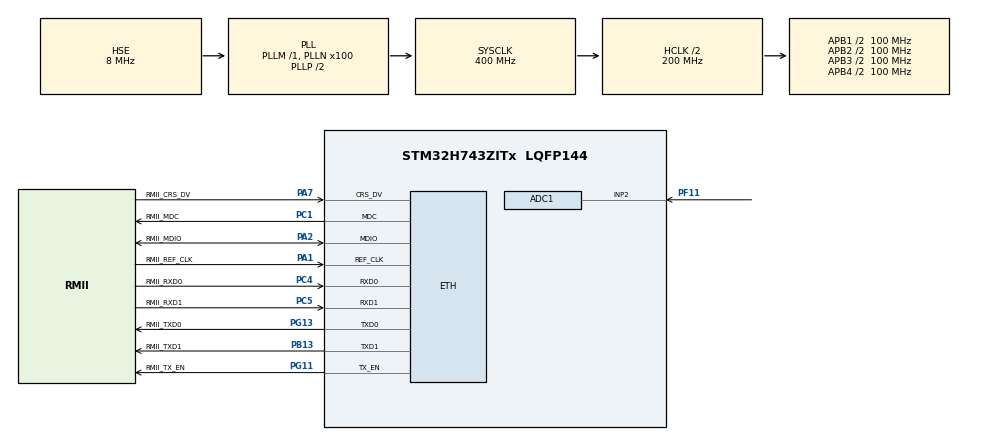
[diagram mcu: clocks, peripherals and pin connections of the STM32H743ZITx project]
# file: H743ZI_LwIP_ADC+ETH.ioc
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ADC1.Channel-0\#ChannelRegularConversion=ADC_CHANNEL_2
ADC1.ContinuousConvMode=ENABLE
ADC1.ConversionDataManagement=ADC_CONVERSIONDATA_DMA_CIRCULAR
ADC1.NbrOfConversionFlag=1
ADC1.OffsetNumber-0\#ChannelRegularConversion=ADC_OFFSET_NONE
ADC1.Overrun=ADC_OVR_DATA_OVERWRITTEN
ADC1.Rank-0\#ChannelRegularConversion=1
ADC1.SamplingTime-0\#ChannelRegularConversion=ADC_SAMPLETIME_1CYCLE_5
ADC1.master=1
CORTEX_M7.AccessPermission-Cortex_Memory_Protection_Unit_Region0_Settings=MPU_REGION_FULL_ACCESS
CORTEX_M7.BaseAddress-Cortex_Memory_Protection_Unit_Region0_Settings=0x30040000
CORTEX_M7.BaseAddress-Cortex_Memory_Protection_Unit_Region1_Settings=0x30044000
CORTEX_M7.CPU_DCache=Enabled
CORTEX_M7.CPU_ICache=Enabled
CORTEX_M7.Enable-Cortex_Memory_Protection_Unit_Region0_Settings=MPU_REGION_ENABLE
CORTEX_M7.Enable-Cortex_Memory_Protection_Unit_Region1_Settings=MPU_REGION_ENABLE
CORTEX_M7.IsBufferable-Cortex_Memory_Protection_Unit_Region0_Settings=MPU_ACCESS_BUFFERABLE
CORTEX_M7.IsCacheable-Cortex_Memory_Protection_Unit_Region1_Settings=MPU_ACCESS_CACHEABLE
CORTEX_M7.MPU_Control=MPU_PRIVILEGED_DEFAULT
CORTEX_M7.Size-Cortex_Memory_Protection_Unit_Region0_Settings=MPU_REGION_SIZE_256B
CORTEX_M7.Size-Cortex_Memory_Protection_Unit_Region1_Settings=MPU_REGION_SIZE_16KB
Dma.ADC1.0.Direction=DMA_PERIPH_TO_MEMORY
Dma.ADC1.0.EventEnable=DISABLE
Dma.ADC1.0.FIFOMode=DMA_FIFOMODE_DISABLE
Dma.ADC1.0.Instance=DMA1_Stream0
Dma.ADC1.0.MemDataAlignment=DMA_MDATAALIGN_HALFWORD
Dma.ADC1.0.MemInc=DMA_MINC_ENABLE
Dma.ADC1.0.Mode=DMA_CIRCULAR
Dma.ADC1.0.PeriphDataAlignment=DMA_PDATAALIGN_HALFWORD
Dma.ADC1.0.PeriphInc=DMA_PINC_DISABLE
Dma.ADC1.0.Polarity=HAL_DMAMUX_REQ_GEN_RISING
Dma.ADC1.0.Priority=DMA_PRIORITY_VERY_HIGH
Dma.ADC1.0.RequestNumber=1
Dma.ADC1.0.SignalID=NONE
Dma.ADC1.0.SyncEnable=DISABLE
Dma.ADC1.0.SyncPolarity=HAL_DMAMUX_SYNC_NO_EVENT
Dma.ADC1.0.SyncRequestNumber=1
Dma.ADC1.0.SyncSignalID=NONE
Dma.Request0=ADC1
ETH.MediaInterface=HAL_ETH_RMII_MODE
LWIP.BSP.number=1
LWIP.GATEWAY_ADDRESS=192.168.000.001
LWIP.IP_ADDRESS=192.168.000.010
LWIP.LWIP_DHCP=0
LWIP.NETMASK_ADDRESS=255.255.255.000
LWIP.Version=v2.0.3_Cube
LWIP0.BSP.STBoard=false
LWIP0.BSP.api=BSP_COMPONENT_DRIVER
LWIP0.BSP.component=LAN8742
LWIP0.BSP.i2caddr=0
LWIP0.BSP.instance=LAN8742
LWIP0.BSP.name=Driver_PHY
LWIP0.BSP.solution=LAN8742
Mcu.Family=STM32H7
Mcu.Name=STM32H743ZITx
Mcu.Package=LQFP144
NVIC.DMA1_Stream0_IRQn=true\:0\:0\:false\:false\:true\:false\:true
NVIC.PriorityGroup=NVIC_PRIORITYGROUP_4
PA1.GPIO_Label=RMII_REF_CLK
PA1.GPIO_Speed=GPIO_SPEED_FREQ_HIGH
PA1.Mode=RMII
PA1.Signal=ETH_REF_CLK
PA13\ (JTMS/SWDIO).GPIO_Label=TMS
PA13\ (JTMS/SWDIO).Mode=Serial_Wire
PA13\ (JTMS/SWDIO).Signal=SYS_JTMS-SWDIO
PA14\ (JTCK/SWCLK).GPIO_Label=TCK
PA14\ (JTCK/SWCLK).Mode=Serial_Wire
PA14\ (JTCK/SWCLK).Signal=SYS_JTCK-SWCLK
PA2.GPIO_Label=RMII_MDIO
PA2.GPIO_Speed=GPIO_SPEED_FREQ_HIGH
PA2.Mode=RMII
PA2.Signal=ETH_MDIO
PA7.GPIO_Label=RMII_CRS_DV
PA7.GPIO_Speed=GPIO_SPEED_FREQ_HIGH
PA7.Mode=RMII
PA7.Signal=ETH_CRS_DV
PB13.GPIO_Label=RMII_TXD1
PB13.GPIO_Speed=GPIO_SPEED_FREQ_HIGH
PB13.Mode=RMII
PB13.Signal=ETH_TXD1
PC1.GPIO_Label=RMII_MDC
PC1.Mode=RMII
PC1.Signal=ETH_MDC
PC4.GPIO_Label=RMII_RXD0
PC4.GPIO_Speed=GPIO_SPEED_FREQ_HIGH
PC4.Mode=RMII
PC4.Signal=ETH_RXD0
PC5.GPIO_Label=RMII_RXD1
PC5.GPIO_Speed=GPIO_SPEED_FREQ_HIGH
PC5.Mode=RMII
PC5.Signal=ETH_RXD1
PF11.Mode=IN2-Single-Ended
PF11.Signal=ADC1_INP2
PG11.GPIO_Label=RMII_TX_EN
PG11.GPIO_Speed=GPIO_SPEED_FREQ_HIGH
PG11.Mode=RMII
PG11.Signal=ETH_TX_EN
PG13.GPIO_Label=RMII_TXD0
PG13.GPIO_Speed=GPIO_SPEED_FREQ_HIGH
PG13.Mode=RMII
PG13.Signal=ETH_TXD0
PH0-OSC_IN\ (PH0).GPIO_Label=MCO
PH0-OSC_IN\ (PH0).Mode=HSE-External-Oscillator
PH0-OSC_IN\ (PH0).Signal=RCC_OSC_IN
PH1-OSC_OUT\ (PH1).Mode=HSE-External-Oscillator
PH1-OSC_OUT\ (PH1).Signal=RCC_OSC_OUT
ProjectManager.HeapSize=0x2000
ProjectManager.StackSize=0x4000
ProjectManager.TargetToolchain=EWARM V8
RCC.48MHZClocksFreq_Value=24000000
RCC.ADCFreq_Value=76000000
RCC.AHBFreq_Value=216000000
RCC.APB1CLKDivider=RCC_HCLK_DIV4
RCC.APB1Freq_Value=100000000
RCC.APB1TimFreq_Value=108000000
RCC.APB2CLKDivider=RCC_HCLK_DIV2
RCC.APB2Freq_Value=100000000
RCC.APB2TimFreq_Value=216000000
RCC.APB3Freq_Value=100000000
RCC.APB4Freq_Value=100000000
RCC.CortexFreq_Value=400000000
RCC.D1PPRE=RCC_APB3_DIV2
RCC.D2PPRE1=RCC_APB1_DIV2
RCC.D2PPRE2=RCC_APB2_DIV2
RCC.D3PPRE=RCC_APB4_DIV2
RCC.DIVM1=1
RCC.DIVM2=1
RCC.DIVN1=100
RCC.DIVN2=19
RCC.DIVQ1=4
RCC.HCLKFreq_Value=200000000
RCC.HPRE=RCC_HCLK_DIV2
RCC.HSE_VALUE=8000000
RCC.HSI_VALUE=64000000
RCC.PLLM=25
RCC.PLLMUL=RCC_PLL_MUL9
RCC.PLLN=432
RCC.PLLQ=9
RCC.PLLSourceVirtual=RCC_PLLSOURCE_HSE
RCC.PRESCALERUSB=RCC_USBCLKSOURCE_PLL_DIV1_5
RCC.PWR_Regulator_Voltage_Scale=PWR_REGULATOR_VOLTAGE_SCALE1
RCC.SYSCLKFreq_VALUE=400000000
RCC.SYSCLKSource=RCC_SYSCLKSOURCE_PLLCLK
RCC.SYSCLKSourceVirtual=RCC_SYSCLKSOURCE_PLLCLK
RCC.USBFreq_Value=200000000
RCC.VCOOutputFreq_Value=432000000
VP_LWIP_VS_Enabled.Mode=Enabled
board=NUCLEO-H743ZI

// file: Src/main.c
/* USER CODE BEGIN Header */
/**
  ******************************************************************************
  * @file           : main.c
  * @brief          : Main program body
  ******************************************************************************
  * This notice applies to any and all portions of this file
  * that are not between comment pairs USER CODE BEGIN and
  * USER CODE END. Other portions of this file, whether
  * inserted by the user or by software development tools
  * are owned by their respective copyright owners.
  *
  * Copyright (c) 2019 STMicroelectronics International N.V.
  * All rights reserved.
  *
  * Redistribution and use in source and binary forms, with or without
  * modification, are permitted, provided that the following conditions are met:
  *
  * 1. Redistribution of source code must retain the above copyright notice,
  *    this list of conditions and the following disclaimer.
  * 2. Redistributions in binary form must reproduce the above copyright notice,
  *    this list of conditions and the following disclaimer in the documentation
  *    and/or other materials provided with the distribution.
  * 3. Neither the name of STMicroelectronics nor the names of other
  *    contributors to this software may be used to endorse or promote products
  *    derived from this software without specific written permission.
  * 4. This software, including modifications and/or derivative works of this
  *    software, must execute solely and exclusively on microcontroller or
  *    microprocessor devices manufactured by or for STMicroelectronics.
  * 5. Redistribution and use of this software other than as permitted under
  *    this license is void and will automatically terminate your rights under
  *    this license.
  *
  * THIS SOFTWARE IS PROVIDED BY STMICROELECTRONICS AND CONTRIBUTORS "AS IS"
  * AND ANY EXPRESS, IMPLIED OR STATUTORY WARRANTIES, INCLUDING, BUT NOT
  * LIMITED TO, THE IMPLIED WARRANTIES OF MERCHANTABILITY, FITNESS FOR A
  * PARTICULAR PURPOSE AND NON-INFRINGEMENT OF THIRD PARTY INTELLECTUAL PROPERTY
  * RIGHTS ARE DISCLAIMED TO THE FULLEST EXTENT PERMITTED BY LAW. IN NO EVENT
  * SHALL STMICROELECTRONICS OR CONTRIBUTORS BE LIABLE FOR ANY DIRECT, INDIRECT,
  * INCIDENTAL, SPECIAL, EXEMPLARY, OR CONSEQUENTIAL DAMAGES (INCLUDING, BUT NOT
  * LIMITED TO, PROCUREMENT OF SUBSTITUTE GOODS OR SERVICES; LOSS OF USE, DATA,
  * OR PROFITS; OR BUSINESS INTERRUPTION) HOWEVER CAUSED AND ON ANY THEORY OF
  * LIABILITY, WHETHER IN CONTRACT, STRICT LIABILITY, OR TORT (INCLUDING
  * NEGLIGENCE OR OTHERWISE) ARISING IN ANY WAY OUT OF THE USE OF THIS SOFTWARE,
  * EVEN IF ADVISED OF THE POSSIBILITY OF SUCH DAMAGE.
  *
  ******************************************************************************
  */
/* USER CODE END Header */

#include "main.h"
#include "lwip.h"

/* USER CODE BEGIN Includes */
#include "lwip/udp.h"
/* USER CODE END Includes */

/* USER CODE BEGIN PD */
#define ADC_CONVERTED_DATA_BUFFER_SIZE   ((uint32_t)  32)   /* Size of array aADCxConvertedData[] */
/* USER CODE END PD */

ADC_HandleTypeDef hadc1;
DMA_HandleTypeDef hdma_adc1;

/* USER CODE BEGIN PV */
struct udp_pcb * pcb; ///< UDP PCB for communication with PC
err_t err; ///< Error status for UDP transfer and receive
struct pbuf * p1; ///< Data buffer for transferring data from frontend 1 through UDP
extern ip4_addr_t ipaddr;
ip4_addr_t client;
ALIGN_32BYTES (static uint16_t aADCxConvertedData[ADC_CONVERTED_DATA_BUFFER_SIZE]);
static uint16_t samp_freq;
/* USER CODE END PV */

void SystemClock_Config(void);
static void MPU_Config(void);
static void MX_GPIO_Init(void);
static void MX_DMA_Init(void);
static void MX_ADC1_Init(void);

int main(void)
{

  /* MPU Configuration--------------------------------------------------------*/
  MPU_Config();

  /* Enable I-Cache---------------------------------------------------------*/
  SCB_EnableICache();

  /* Enable D-Cache---------------------------------------------------------*/
  SCB_EnableDCache();

  /* MCU Configuration--------------------------------------------------------*/

  /* Reset of all peripherals, Initializes the Flash interface and the Systick. */
  HAL_Init();

  /* USER CODE BEGIN Init */
  IP4_ADDR(&client, 192, 168, 0, 11);
  /* USER CODE END Init */

  /* Configure the system clock */
  SystemClock_Config();

  /* Initialize all configured peripherals */
  MX_GPIO_Init();
  MX_DMA_Init();
  MX_LWIP_Init();
  MX_ADC1_Init();
  /* USER CODE BEGIN 2 */
  HAL_Delay(1000);

  samp_freq = 0;//RCC_OscInitStruct.PLL.PLLN;

  HAL_ADC_Start_DMA(&hadc1, (uint32_t *)aADCxConvertedData,
                    ADC_CONVERTED_DATA_BUFFER_SIZE);

  // setup UDP connection
  pcb = udp_new();
  pcb->local_ip = ipaddr;
  pcb->remote_ip = client;
  pcb->local_port = 55726;
  err = udp_bind(pcb, IP_ADDR_ANY, 55726);

  // write sample frequency
  p1 = pbuf_alloc(PBUF_TRANSPORT, sizeof(uint16_t), PBUF_POOL);
  err = pbuf_take(p1, &samp_freq, sizeof(uint16_t));
  err = udp_sendto(pcb, p1, &client, 55726);
  pbuf_free(p1);

  /* USER CODE END 2 */

  /* Infinite loop */
  /* USER CODE BEGIN WHILE */
  while (1)
  {
    MX_LWIP_Process();
    HAL_Delay(1);
    /* USER CODE END WHILE */

    /* USER CODE BEGIN 3 */

    // write pbuf and send udp package
    p1 = pbuf_alloc(PBUF_TRANSPORT, sizeof(uint16_t), PBUF_POOL);
    err = pbuf_take(p1, &aADCxConvertedData, sizeof(uint16_t));
    err = udp_sendto(pcb, p1, &client, 55726);
    pbuf_free(p1);
  }
  /* USER CODE END 3 */
}

void SystemClock_Config(void)
{
  RCC_OscInitTypeDef RCC_OscInitStruct = {0};
  RCC_ClkInitTypeDef RCC_ClkInitStruct = {0};
  RCC_PeriphCLKInitTypeDef PeriphClkInitStruct = {0};

  /** Supply configuration update enable
  */
  MODIFY_REG(PWR->CR3, PWR_CR3_SCUEN, 0);
  /** Configure the main internal regulator output voltage
  */
  __HAL_PWR_VOLTAGESCALING_CONFIG(PWR_REGULATOR_VOLTAGE_SCALE1);

  while ((PWR->D3CR & (PWR_D3CR_VOSRDY)) != PWR_D3CR_VOSRDY)
  {

  }
  /** Macro to configure the PLL clock source
  */
  __HAL_RCC_PLL_PLLSOURCE_CONFIG(RCC_PLLSOURCE_HSE);
  /** Initializes the CPU, AHB and APB busses clocks
  */
  RCC_OscInitStruct.OscillatorType = RCC_OSCILLATORTYPE_HSE;
  RCC_OscInitStruct.HSEState = RCC_HSE_ON;
  RCC_OscInitStruct.PLL.PLLState = RCC_PLL_ON;
  RCC_OscInitStruct.PLL.PLLSource = RCC_PLLSOURCE_HSE;
  RCC_OscInitStruct.PLL.PLLM = 1;
  RCC_OscInitStruct.PLL.PLLN = 100;
  RCC_OscInitStruct.PLL.PLLP = 2;
  RCC_OscInitStruct.PLL.PLLQ = 4;
  RCC_OscInitStruct.PLL.PLLR = 2;
  RCC_OscInitStruct.PLL.PLLRGE = RCC_PLL1VCIRANGE_3;
  RCC_OscInitStruct.PLL.PLLVCOSEL = RCC_PLL1VCOWIDE;
  RCC_OscInitStruct.PLL.PLLFRACN = 0;
  if (HAL_RCC_OscConfig(&RCC_OscInitStruct) != HAL_OK)
  {
    Error_Handler();
  }
  /** Initializes the CPU, AHB and APB busses clocks
  */
  RCC_ClkInitStruct.ClockType = RCC_CLOCKTYPE_HCLK|RCC_CLOCKTYPE_SYSCLK
                              |RCC_CLOCKTYPE_PCLK1|RCC_CLOCKTYPE_PCLK2
                              |RCC_CLOCKTYPE_D3PCLK1|RCC_CLOCKTYPE_D1PCLK1;
  RCC_ClkInitStruct.SYSCLKSource = RCC_SYSCLKSOURCE_PLLCLK;
  RCC_ClkInitStruct.SYSCLKDivider = RCC_SYSCLK_DIV1;
  RCC_ClkInitStruct.AHBCLKDivider = RCC_HCLK_DIV2;
  RCC_ClkInitStruct.APB3CLKDivider = RCC_APB3_DIV2;
  RCC_ClkInitStruct.APB1CLKDivider = RCC_APB1_DIV2;
  RCC_ClkInitStruct.APB2CLKDivider = RCC_APB2_DIV2;
  RCC_ClkInitStruct.APB4CLKDivider = RCC_APB4_DIV2;

  if (HAL_RCC_ClockConfig(&RCC_ClkInitStruct, FLASH_LATENCY_2) != HAL_OK)
  {
    Error_Handler();
  }
  PeriphClkInitStruct.PeriphClockSelection = RCC_PERIPHCLK_ADC;
  PeriphClkInitStruct.PLL2.PLL2M = 1;
  PeriphClkInitStruct.PLL2.PLL2N = 19;
  PeriphClkInitStruct.PLL2.PLL2P = 2;
  PeriphClkInitStruct.PLL2.PLL2Q = 2;
  PeriphClkInitStruct.PLL2.PLL2R = 2;
  PeriphClkInitStruct.PLL2.PLL2RGE = RCC_PLL2VCIRANGE_3;
  PeriphClkInitStruct.PLL2.PLL2VCOSEL = RCC_PLL2VCOMEDIUM;
  PeriphClkInitStruct.PLL2.PLL2FRACN = 0;
  PeriphClkInitStruct.AdcClockSelection = RCC_ADCCLKSOURCE_PLL2;
  if (HAL_RCCEx_PeriphCLKConfig(&PeriphClkInitStruct) != HAL_OK)
  {
    Error_Handler();
  }
}

static void MX_ADC1_Init(void)
{

  ADC_MultiModeTypeDef multimode = {0};
  ADC_ChannelConfTypeDef sConfig = {0};

  /** Common config
  */
  hadc1.Instance = ADC1;
  hadc1.Init.ClockPrescaler = ADC_CLOCK_ASYNC_DIV4;
  hadc1.Init.Resolution = ADC_RESOLUTION_16B;
  hadc1.Init.ScanConvMode = ADC_SCAN_DISABLE;
  hadc1.Init.EOCSelection = ADC_EOC_SINGLE_CONV;
  hadc1.Init.LowPowerAutoWait = DISABLE;
  hadc1.Init.ContinuousConvMode = ENABLE;
  hadc1.Init.NbrOfConversion = 1;
  hadc1.Init.DiscontinuousConvMode = DISABLE;
  hadc1.Init.ExternalTrigConv = ADC_SOFTWARE_START;
  hadc1.Init.ExternalTrigConvEdge = ADC_EXTERNALTRIGCONVEDGE_NONE;
  hadc1.Init.ConversionDataManagement = ADC_CONVERSIONDATA_DMA_CIRCULAR;
  hadc1.Init.Overrun = ADC_OVR_DATA_OVERWRITTEN;
  hadc1.Init.LeftBitShift = ADC_LEFTBITSHIFT_NONE;
  hadc1.Init.BoostMode = DISABLE;
  hadc1.Init.OversamplingMode = DISABLE;
  if (HAL_ADC_Init(&hadc1) != HAL_OK)
  {
    Error_Handler();
  }
  /** Configure the ADC multi-mode
  */
  multimode.Mode = ADC_MODE_INDEPENDENT;
  if (HAL_ADCEx_MultiModeConfigChannel(&hadc1, &multimode) != HAL_OK)
  {
    Error_Handler();
  }
  /** Configure Regular Channel
  */
  sConfig.Channel = ADC_CHANNEL_2;
  sConfig.Rank = ADC_REGULAR_RANK_1;
  sConfig.SamplingTime = ADC_SAMPLETIME_1CYCLE_5;
  sConfig.SingleDiff = ADC_SINGLE_ENDED;
  sConfig.OffsetNumber = ADC_OFFSET_NONE;
  sConfig.Offset = 0;
  if (HAL_ADC_ConfigChannel(&hadc1, &sConfig) != HAL_OK)
  {
    Error_Handler();
  }

}

static void MX_DMA_Init(void)
{
  /* DMA controller clock enable */
  __HAL_RCC_DMA1_CLK_ENABLE();

  /* DMA interrupt init */
  /* DMA1_Stream0_IRQn interrupt configuration */
  HAL_NVIC_SetPriority(DMA1_Stream0_IRQn, 0, 0);
  HAL_NVIC_EnableIRQ(DMA1_Stream0_IRQn);

}

static void MX_GPIO_Init(void)
{

  /* GPIO Ports Clock Enable */
  __HAL_RCC_GPIOH_CLK_ENABLE();
  __HAL_RCC_GPIOC_CLK_ENABLE();
  __HAL_RCC_GPIOA_CLK_ENABLE();
  __HAL_RCC_GPIOF_CLK_ENABLE();
  __HAL_RCC_GPIOB_CLK_ENABLE();
  __HAL_RCC_GPIOG_CLK_ENABLE();

}

/* MPU Configuration */

void MPU_Config(void)
{
  MPU_Region_InitTypeDef MPU_InitStruct = {0};

  /* Disables the MPU */
  HAL_MPU_Disable();
  /** Initializes and configures the Region and the memory to be protected
  */
  MPU_InitStruct.Enable = MPU_REGION_ENABLE;
  MPU_InitStruct.Number = MPU_REGION_NUMBER0;
  MPU_InitStruct.BaseAddress = 0x30040000;
  MPU_InitStruct.Size = MPU_REGION_SIZE_256B;
  MPU_InitStruct.SubRegionDisable = 0x0;
  MPU_InitStruct.TypeExtField = MPU_TEX_LEVEL0;
  MPU_InitStruct.AccessPermission = MPU_REGION_FULL_ACCESS;
  MPU_InitStruct.DisableExec = MPU_INSTRUCTION_ACCESS_ENABLE;
  MPU_InitStruct.IsShareable = MPU_ACCESS_NOT_SHAREABLE;
  MPU_InitStruct.IsCacheable = MPU_ACCESS_NOT_CACHEABLE;
  MPU_InitStruct.IsBufferable = MPU_ACCESS_BUFFERABLE;

  HAL_MPU_ConfigRegion(&MPU_InitStruct);
  /** Initializes and configures the Region and the memory to be protected
  */
  MPU_InitStruct.Enable = MPU_REGION_ENABLE;
  MPU_InitStruct.Number = MPU_REGION_NUMBER1;
  MPU_InitStruct.BaseAddress = 0x30044000;
  MPU_InitStruct.Size = MPU_REGION_SIZE_16KB;
  MPU_InitStruct.SubRegionDisable = 0x0;
  MPU_InitStruct.TypeExtField = MPU_TEX_LEVEL0;
  MPU_InitStruct.AccessPermission = MPU_REGION_NO_ACCESS;
  MPU_InitStruct.DisableExec = MPU_INSTRUCTION_ACCESS_ENABLE;
  MPU_InitStruct.IsShareable = MPU_ACCESS_NOT_SHAREABLE;
  MPU_InitStruct.IsCacheable = MPU_ACCESS_CACHEABLE;
  MPU_InitStruct.IsBufferable = MPU_ACCESS_NOT_BUFFERABLE;

  HAL_MPU_ConfigRegion(&MPU_InitStruct);
  /* Enables the MPU */
  HAL_MPU_Enable(MPU_PRIVILEGED_DEFAULT);

}

void Error_Handler(void)
{
}

/************************ (C) COPYRIGHT STMicroelectronics *****END OF FILE****/
